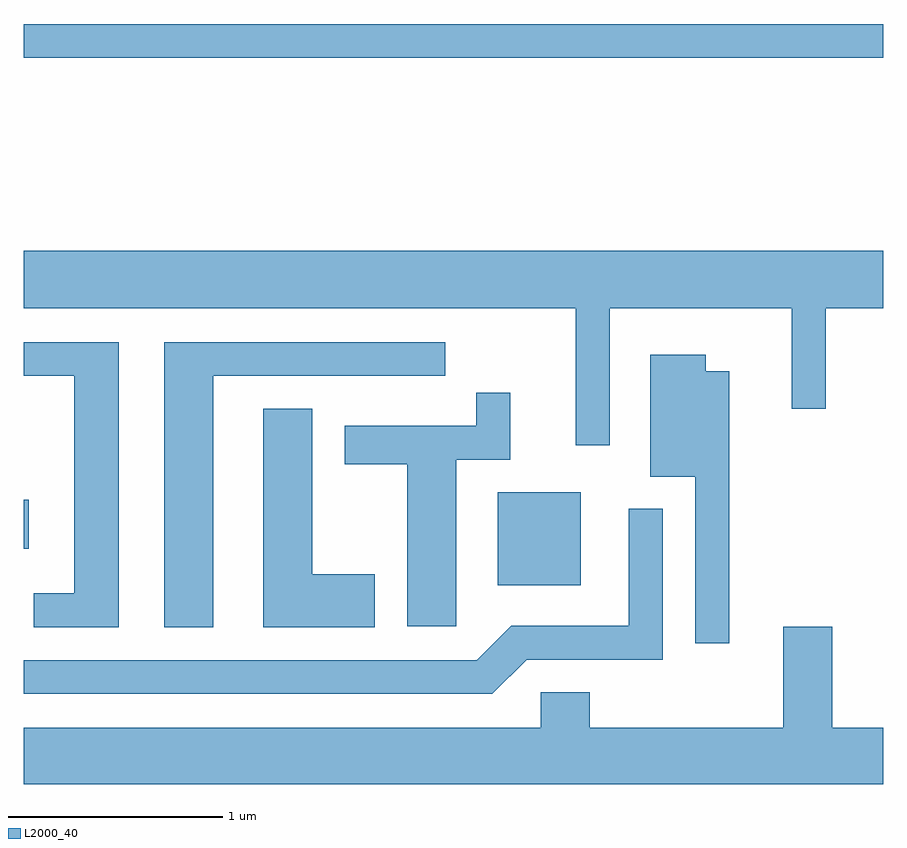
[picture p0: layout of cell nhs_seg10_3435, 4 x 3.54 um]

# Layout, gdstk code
import gdstk
lib = gdstk.Library(unit=1e-6, precision=1e-09)
def R(c, l, rs):  # rectangles x0, y0, x1, y1
    for r in rs: c.add(gdstk.rectangle(r[:2], r[2:], *l))
def P(c, l, *ps):  # polygons
    for p in ps: c.add(gdstk.Polygon(p, *l))
L2000_40 = (2000, 40)

nhs_seg10_3435 = lib.new_cell('nhs_seg10_3435')
R(nhs_seg10_3435, L2000_40, [(287.816,2181.446,288.204,2181.879), (285.611,2181.616,285.634,2181.844), (285.611,2183.901,289.611,2184.059)])
P(nhs_seg10_3435, L2000_40, [(288.339,2182.736),(289.186,2182.736),(289.186,2182.268),(289.344,2182.268),(289.344,2182.736),(289.611,2182.736),(289.611,2183.004),(285.611,2183.004),(285.611,2182.736),(288.181,2182.736),(288.181,2182.098),(288.339,2182.098)],
  [(286.494,2182.421),(287.573,2182.421),(287.573,2182.579),(286.266,2182.579),(286.266,2181.251),(286.494,2181.251)],
  [(286.054,2182.579),(285.611,2182.579),(285.611,2182.421),(285.846,2182.421),(285.846,2181.409),(285.658,2181.409),(285.658,2181.251),(286.054,2181.251)],
  [(288.894,2182.444),(288.784,2182.444),(288.784,2182.519),(288.526,2182.519),(288.526,2181.951),(288.736,2181.951),(288.736,2181.178),(288.894,2181.178)],
  [(287.624,2182.031),(287.874,2182.031),(287.874,2182.343),(287.716,2182.343),(287.716,2182.189),(287.106,2182.189),(287.106,2182.011),(287.396,2182.011),(287.396,2181.256),(287.624,2181.256)],
  [(287.244,2181.499),(286.954,2181.499),(286.954,2182.269),(286.726,2182.269),(286.726,2181.251),(287.244,2181.251)],
  [(287.952,2181.101),(288.584,2181.101),(288.584,2181.803),(288.426,2181.803),(288.426,2181.259),(287.879,2181.259),(287.719,2181.099),(285.611,2181.099),(285.611,2180.941),(287.792,2180.941)],
  [(289.611,2180.784),(289.374,2180.784),(289.374,2181.254),(289.146,2181.254),(289.146,2180.784),(288.244,2180.784),(288.244,2180.949),(288.016,2180.949),(288.016,2180.784),(285.611,2180.784),(285.611,2180.522),(289.611,2180.522)])

lib.write_gds('nhs_seg10_3435.gds')
